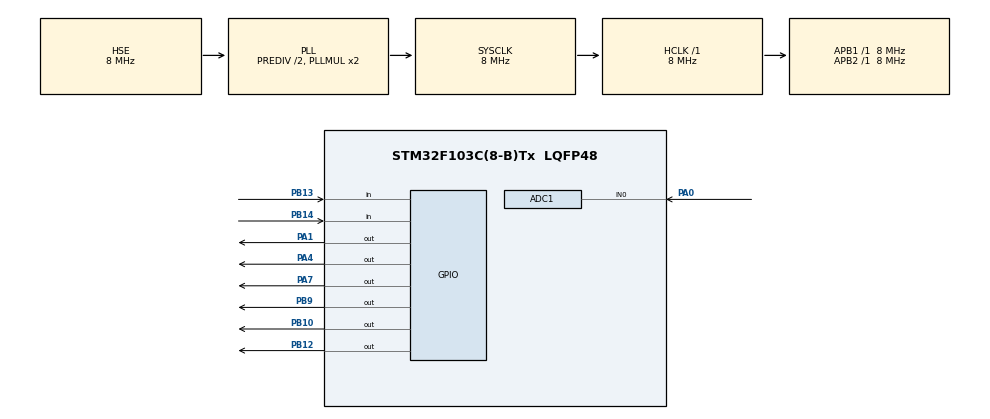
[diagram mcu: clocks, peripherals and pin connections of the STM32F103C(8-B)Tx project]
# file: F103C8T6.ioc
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ADC1.Channel-0\#ChannelRegularConversion=ADC_CHANNEL_0
ADC1.ContinuousConvMode=ENABLE
ADC1.NbrOfConversionFlag=1
ADC1.Rank-0\#ChannelRegularConversion=1
ADC1.SamplingTime-0\#ChannelRegularConversion=ADC_SAMPLETIME_1CYCLE_5
ADC1.master=1
Dma.ADC1.0.Direction=DMA_PERIPH_TO_MEMORY
Dma.ADC1.0.Instance=DMA1_Channel1
Dma.ADC1.0.MemDataAlignment=DMA_MDATAALIGN_HALFWORD
Dma.ADC1.0.MemInc=DMA_MINC_ENABLE
Dma.ADC1.0.Mode=DMA_CIRCULAR
Dma.ADC1.0.PeriphDataAlignment=DMA_PDATAALIGN_HALFWORD
Dma.ADC1.0.PeriphInc=DMA_PINC_DISABLE
Dma.ADC1.0.Priority=DMA_PRIORITY_MEDIUM
Dma.Request0=ADC1
Mcu.Family=STM32F1
Mcu.Name=STM32F103C(8-B)Tx
Mcu.Package=LQFP48
NVIC.DMA1_Channel1_IRQn=true\:0\:0\:false\:false\:true\:false\:true\:true
NVIC.PriorityGroup=NVIC_PRIORITYGROUP_4
NVIC.TIM2_IRQn=true\:0\:0\:false\:false\:true\:true\:true\:true
PA0-WKUP.Signal=ADCx_IN0
PA1.Signal=GPIO_Output
PA13.Mode=Serial_Wire
PA13.Signal=SYS_JTMS-SWDIO
PA14.Mode=Serial_Wire
PA14.Signal=SYS_JTCK-SWCLK
PA4.Signal=GPIO_Output
PA7.Signal=GPIO_Output
PB10.Signal=GPIO_Output
PB12.Signal=GPIO_Output
PB13.GPIO_PuPd=GPIO_PULLDOWN
PB13.Signal=GPIO_Input
PB14.GPIO_PuPd=GPIO_PULLDOWN
PB14.Signal=GPIO_Input
PB9.Signal=GPIO_Output
PD0-OSC_IN.Mode=HSE-External-Oscillator
PD0-OSC_IN.Signal=RCC_OSC_IN
PD1-OSC_OUT.Mode=HSE-External-Oscillator
PD1-OSC_OUT.Signal=RCC_OSC_OUT
ProjectManager.HeapSize=0x200
ProjectManager.StackSize=0x400
ProjectManager.TargetToolchain=MDK-ARM V5.32
RCC.AHBFreq_Value=8000000
RCC.APB1Freq_Value=8000000
RCC.APB1TimFreq_Value=8000000
RCC.APB2Freq_Value=8000000
RCC.APB2TimFreq_Value=8000000
RCC.HCLKFreq_Value=8000000
RCC.HSEDivPLL=RCC_HSE_PREDIV_DIV2
RCC.PLLSourceVirtual=RCC_PLLSOURCE_HSE
RCC.SYSCLKFreq_VALUE=8000000
RCC.SYSCLKSource=RCC_SYSCLKSOURCE_PLLCLK
RCC.USBFreq_Value=8000000
SH.ADCx_IN0.0=ADC1_IN0,IN0
TIM2.Period=10000-1
TIM2.Prescaler=80-1
VP_TIM2_VS_ClockSourceINT.Mode=Internal
board=custom

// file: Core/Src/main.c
/* USER CODE BEGIN Header */
/**
  ******************************************************************************
  * @file           : main.c
  * @brief          : Main program body
  ******************************************************************************
  * @attention
  *
  * Copyright (c) 2026 STMicroelectronics.
  * All rights reserved.
  *
  * This software is licensed under terms that can be found in the LICENSE file
  * in the root directory of this software component.
  * If no LICENSE file comes with this software, it is provided AS-IS.
  *
  ******************************************************************************
  */
/* USER CODE END Header */
#include "main.h"

/* USER CODE BEGIN PTD */
typedef enum {
  ST_OFF_IDLE = 0,
  ST_OFF_LEVEL,
  ST_OFF_ANIM,
  ST_ON_IDLE,
  ST_ON_BLIP,
  ST_ON_LEVEL,
  ST_ON_ANIM,
} fsm_state_t;
/* USER CODE END PTD */

/* USER CODE BEGIN PD */
#define BTN_PORT          GPIOB
#define BTN_PIN           GPIO_PIN_13
#define IND_LED_PORT      GPIOB
#define IND_LED_PIN       GPIO_PIN_12
#define BAT_OUT_PORT      GPIOB
#define BAT_OUT_PIN       GPIO_PIN_9

#define LED1_PORT         GPIOB
#define LED1_PIN          GPIO_PIN_10
#define LED2_PORT         GPIOA
#define LED2_PIN          GPIO_PIN_7
#define LED3_PORT         GPIOA
#define LED3_PIN          GPIO_PIN_4
#define LED4_PORT         GPIOA
#define LED4_PIN          GPIO_PIN_1

#define DEBOUNCE_MS       20U
#define WINDOW_MS         4000U
#define LONG_PRESS_MS     1200U
#define BLINK_HALF_MS     250U      /* 2Hz: 250ms on / 250ms off */
#define ON_BLIP_MS        200U      /* ON 短按瞬间全灭时长 */
#define ANIM_STEP_MS      300U      /* 2s 动画分 4 步 */

#define ADC_BUF_LEN       32U
#define V_REF_MV          3300U     /* ADC 满量程 */
#define V_BAT0_MV         2310U     /* 0% 对应分压 2.61V */
#define V_BAT100_MV       3000U     /* 100% 对应分压 3.30V */

#define LOOP_TICK_MS      5U        /* 主循环节流周期 */
/* USER CODE END PD */

ADC_HandleTypeDef hadc1;
DMA_HandleTypeDef hdma_adc1;

TIM_HandleTypeDef htim2;

/* USER CODE BEGIN PV */
/* ADC DMA 循环采样缓冲 */
static volatile uint16_t adc_buf[ADC_BUF_LEN];

/* 按键去抖与边沿事件 */
static uint8_t  btn_stable      = 0;          /* 去抖后稳定电平 0/1 */
static uint8_t  btn_raw_last    = 0;
static uint32_t btn_change_ms   = 0;
static uint8_t  btn_consume     = 0;          /* 切换后忽略当前按住 */
static uint8_t  ev_pressed      = 0;          /* 本轮按下边沿 */
static uint8_t  ev_released     = 0;          /* 本轮释放边沿 */

/* 状态机 */
static fsm_state_t fsm           = ST_OFF_IDLE;
static uint32_t window_start_ms  = 0;          /* LEVEL 窗口起点 */
static uint32_t anim_start_ms    = 0;          /* ANIM 起点 */
static uint32_t blip_start_ms    = 0;          /* ON_BLIP 起点 */

/* 主循环节流 */
static uint32_t last_tick_ms     = 0;
/* USER CODE END PV */

void SystemClock_Config(void);
static void MX_GPIO_Init(void);
static void MX_DMA_Init(void);
static void MX_ADC1_Init(void);
static void MX_TIM2_Init(void);
/* USER CODE BEGIN PFP */
static void     update_button(uint32_t now);
static uint16_t adc_average_mv(void);
static int16_t  battery_percent(void);
static void     compute_level_pattern(uint8_t pat[4]);
static void     apply_leds(const uint8_t pat[4], uint8_t blink_on);
static void     render_off_anim(uint32_t elapsed, uint8_t pat[4]);
static void     render_on_anim(uint32_t elapsed, uint8_t pat[4]);
static void     fsm_step(uint32_t now);
static void     render_leds(uint32_t now);
/* USER CODE END PFP */

int main(void)
{

  /* MCU Configuration--------------------------------------------------------*/

  /* Reset of all peripherals, Initializes the Flash interface and the Systick. */
  HAL_Init();

  /* Configure the system clock */
  SystemClock_Config();

  /* Initialize all configured peripherals */
  MX_GPIO_Init();
  MX_DMA_Init();
  MX_ADC1_Init();
  MX_TIM2_Init();
  /* USER CODE BEGIN 2 */
  HAL_ADCEx_Calibration_Start(&hadc1);
  HAL_ADC_Start_DMA(&hadc1, (uint32_t *)adc_buf, ADC_BUF_LEN);

  /* 启动即关闭电池输出，确保上电安全 */
  HAL_GPIO_WritePin(BAT_OUT_PORT, BAT_OUT_PIN, GPIO_PIN_RESET);
  HAL_GPIO_WritePin(IND_LED_PORT, IND_LED_PIN, GPIO_PIN_RESET);
  HAL_GPIO_WritePin(LED1_PORT, LED1_PIN, GPIO_PIN_RESET);
  HAL_GPIO_WritePin(LED2_PORT, LED2_PIN, GPIO_PIN_RESET);
  HAL_GPIO_WritePin(LED3_PORT, LED3_PIN, GPIO_PIN_RESET);
  HAL_GPIO_WritePin(LED4_PORT, LED4_PIN, GPIO_PIN_RESET);

  fsm           = ST_OFF_IDLE;
  last_tick_ms  = HAL_GetTick();
  /* USER CODE END 2 */

  /* Infinite loop */
  /* USER CODE BEGIN WHILE */
  while (1)
  {
    uint32_t now = HAL_GetTick();
    if ((uint32_t)(now - last_tick_ms) >= LOOP_TICK_MS)
    {
      last_tick_ms = now;
      update_button(now);
      fsm_step(now);
      render_leds(now);
    }
    /* USER CODE END WHILE */

  }
}

void SystemClock_Config(void)
{
  RCC_OscInitTypeDef RCC_OscInitStruct = {0};
  RCC_ClkInitTypeDef RCC_ClkInitStruct = {0};
  RCC_PeriphCLKInitTypeDef PeriphClkInit = {0};

  /** Initializes the RCC Oscillators according to the specified parameters
  * in the RCC_OscInitTypeDef structure.
  */
  RCC_OscInitStruct.OscillatorType = RCC_OSCILLATORTYPE_HSE;
  RCC_OscInitStruct.HSEState = RCC_HSE_ON;
  RCC_OscInitStruct.HSEPredivValue = RCC_HSE_PREDIV_DIV2;
  RCC_OscInitStruct.HSIState = RCC_HSI_ON;
  RCC_OscInitStruct.PLL.PLLState = RCC_PLL_ON;
  RCC_OscInitStruct.PLL.PLLSource = RCC_PLLSOURCE_HSE;
  RCC_OscInitStruct.PLL.PLLMUL = RCC_PLL_MUL2;
  if (HAL_RCC_OscConfig(&RCC_OscInitStruct) != HAL_OK)
  {
    Error_Handler();
  }

  /** Initializes the CPU, AHB and APB buses clocks
  */
  RCC_ClkInitStruct.ClockType = RCC_CLOCKTYPE_HCLK|RCC_CLOCKTYPE_SYSCLK
                              |RCC_CLOCKTYPE_PCLK1|RCC_CLOCKTYPE_PCLK2;
  RCC_ClkInitStruct.SYSCLKSource = RCC_SYSCLKSOURCE_PLLCLK;
  RCC_ClkInitStruct.AHBCLKDivider = RCC_SYSCLK_DIV1;
  RCC_ClkInitStruct.APB1CLKDivider = RCC_HCLK_DIV1;
  RCC_ClkInitStruct.APB2CLKDivider = RCC_HCLK_DIV1;

  if (HAL_RCC_ClockConfig(&RCC_ClkInitStruct, FLASH_LATENCY_0) != HAL_OK)
  {
    Error_Handler();
  }
  PeriphClkInit.PeriphClockSelection = RCC_PERIPHCLK_ADC;
  PeriphClkInit.AdcClockSelection = RCC_ADCPCLK2_DIV2;
  if (HAL_RCCEx_PeriphCLKConfig(&PeriphClkInit) != HAL_OK)
  {
    Error_Handler();
  }
}

static void MX_ADC1_Init(void)
{

  ADC_ChannelConfTypeDef sConfig = {0};

  /** Common config
  */
  hadc1.Instance = ADC1;
  hadc1.Init.ScanConvMode = ADC_SCAN_DISABLE;
  hadc1.Init.ContinuousConvMode = ENABLE;
  hadc1.Init.DiscontinuousConvMode = DISABLE;
  hadc1.Init.ExternalTrigConv = ADC_SOFTWARE_START;
  hadc1.Init.DataAlign = ADC_DATAALIGN_RIGHT;
  hadc1.Init.NbrOfConversion = 1;
  if (HAL_ADC_Init(&hadc1) != HAL_OK)
  {
    Error_Handler();
  }

  /** Configure Regular Channel
  */
  sConfig.Channel = ADC_CHANNEL_0;
  sConfig.Rank = ADC_REGULAR_RANK_1;
  sConfig.SamplingTime = ADC_SAMPLETIME_1CYCLE_5;
  if (HAL_ADC_ConfigChannel(&hadc1, &sConfig) != HAL_OK)
  {
    Error_Handler();
  }

}

static void MX_TIM2_Init(void)
{

  TIM_ClockConfigTypeDef sClockSourceConfig = {0};
  TIM_MasterConfigTypeDef sMasterConfig = {0};

  htim2.Instance = TIM2;
  htim2.Init.Prescaler = 80-1;
  htim2.Init.CounterMode = TIM_COUNTERMODE_UP;
  htim2.Init.Period = 10000-1;
  htim2.Init.ClockDivision = TIM_CLOCKDIVISION_DIV1;
  htim2.Init.AutoReloadPreload = TIM_AUTORELOAD_PRELOAD_DISABLE;
  if (HAL_TIM_Base_Init(&htim2) != HAL_OK)
  {
    Error_Handler();
  }
  sClockSourceConfig.ClockSource = TIM_CLOCKSOURCE_INTERNAL;
  if (HAL_TIM_ConfigClockSource(&htim2, &sClockSourceConfig) != HAL_OK)
  {
    Error_Handler();
  }
  sMasterConfig.MasterOutputTrigger = TIM_TRGO_RESET;
  sMasterConfig.MasterSlaveMode = TIM_MASTERSLAVEMODE_DISABLE;
  if (HAL_TIMEx_MasterConfigSynchronization(&htim2, &sMasterConfig) != HAL_OK)
  {
    Error_Handler();
  }

}

static void MX_DMA_Init(void)
{

  /* DMA controller clock enable */
  __HAL_RCC_DMA1_CLK_ENABLE();

  /* DMA interrupt init */
  /* DMA1_Channel1_IRQn interrupt configuration */
  HAL_NVIC_SetPriority(DMA1_Channel1_IRQn, 0, 0);
  HAL_NVIC_EnableIRQ(DMA1_Channel1_IRQn);

}

static void MX_GPIO_Init(void)
{
  GPIO_InitTypeDef GPIO_InitStruct = {0};

  /* GPIO Ports Clock Enable */
  __HAL_RCC_GPIOD_CLK_ENABLE();
  __HAL_RCC_GPIOA_CLK_ENABLE();
  __HAL_RCC_GPIOB_CLK_ENABLE();

  /*Configure GPIO pin Output Level */
  HAL_GPIO_WritePin(GPIOA, GPIO_PIN_1|GPIO_PIN_4|GPIO_PIN_7, GPIO_PIN_RESET);

  /*Configure GPIO pin Output Level */
  HAL_GPIO_WritePin(GPIOB, GPIO_PIN_10|GPIO_PIN_12|GPIO_PIN_9, GPIO_PIN_RESET);

  /*Configure GPIO pins : PA1 PA4 PA7 */
  GPIO_InitStruct.Pin = GPIO_PIN_1|GPIO_PIN_4|GPIO_PIN_7;
  GPIO_InitStruct.Mode = GPIO_MODE_OUTPUT_PP;
  GPIO_InitStruct.Pull = GPIO_NOPULL;
  GPIO_InitStruct.Speed = GPIO_SPEED_FREQ_LOW;
  HAL_GPIO_Init(GPIOA, &GPIO_InitStruct);

  /*Configure GPIO pins : PB10 PB12 PB9 */
  GPIO_InitStruct.Pin = GPIO_PIN_10|GPIO_PIN_12|GPIO_PIN_9;
  GPIO_InitStruct.Mode = GPIO_MODE_OUTPUT_PP;
  GPIO_InitStruct.Pull = GPIO_NOPULL;
  GPIO_InitStruct.Speed = GPIO_SPEED_FREQ_LOW;
  HAL_GPIO_Init(GPIOB, &GPIO_InitStruct);

  /*Configure GPIO pins : PB13 PB14 */
  GPIO_InitStruct.Pin = GPIO_PIN_13|GPIO_PIN_14;
  GPIO_InitStruct.Mode = GPIO_MODE_INPUT;
  GPIO_InitStruct.Pull = GPIO_PULLDOWN;
  HAL_GPIO_Init(GPIOB, &GPIO_InitStruct);

}

/* USER CODE BEGIN 4 */

/* ------------------------------------------------------------------
 * 按键去抖与边沿检测：每个主循环 tick 调用一次
 * ------------------------------------------------------------------ */
static void update_button(uint32_t now)
{
  ev_pressed  = 0;
  ev_released = 0;

  uint8_t raw = (HAL_GPIO_ReadPin(BTN_PORT, BTN_PIN) == GPIO_PIN_SET) ? 1U : 0U;

  if (raw != btn_raw_last)
  {
    btn_raw_last  = raw;
    btn_change_ms = now;
  }

  if (raw != btn_stable && (uint32_t)(now - btn_change_ms) >= DEBOUNCE_MS)
  {
    btn_stable = raw;
    if (raw)
    {
      ev_pressed = 1;
    }
    else
    {
      ev_released = 1;
    }
  }
}

/* ------------------------------------------------------------------
 * ADC 取平均并换算成 mV
 * ------------------------------------------------------------------ */
static uint16_t adc_average_mv(void)
{
  uint32_t sum = 0;
  for (uint32_t i = 0; i < ADC_BUF_LEN; ++i)
  {
    sum += adc_buf[i];
  }
  uint32_t avg = sum / ADC_BUF_LEN;        /* 0..4095 */
  return (uint16_t)((avg * V_REF_MV) / 4095U);
}

/* ------------------------------------------------------------------
 * 电压百分比：2.61V=0%，3.30V=100%，线性
 * ------------------------------------------------------------------ */
static int16_t battery_percent(void)
{
  uint16_t mv = adc_average_mv();
  if (mv <= V_BAT0_MV)
  {
    return 0;
  }
  if (mv >= V_BAT100_MV)
  {
    return 100;
  }
  return (int16_t)(((uint32_t)(mv - V_BAT0_MV) * 100U) / (V_BAT100_MV - V_BAT0_MV));
}

/* ------------------------------------------------------------------
 * 把百分比映射为 4 路 LED 模式（0=灭 1=亮 2=2Hz 闪）
 *
 *   每 12.5% 一个分段（band n = (2*p)/25, n in 0..7）：
 *     n=0  [0,  12.5)  -> blink LED1
 *     n=1  [12.5,25)   -> solid LED1
 *     n=2  [25,  37.5) -> solid LED1, blink LED2
 *     ...
 *     n=7  [87.5,100)  -> all solid
 *   p == 0   单独处理：全灭
 *   p == 100 单独处理：全亮
 * ------------------------------------------------------------------ */
static void compute_level_pattern(uint8_t pat[4])
{
  pat[0] = pat[1] = pat[2] = pat[3] = 0;

  int16_t p = battery_percent();
  if (p <= 0)
  {
    return;
  }
  if (p >= 100)
  {
    pat[0] = pat[1] = pat[2] = pat[3] = 1;
    return;
  }

  int n          = (2 * p) / 25;          /* 0..7 */
  int full_solid = (n + 1) / 2;           /* 0..4 */
  int blink_at   = ((n & 1) == 0) ? 1 : 0;

  for (int i = 0; i < full_solid && i < 4; ++i)
  {
    pat[i] = 1;
  }
  if (blink_at && full_solid < 4)
  {
    pat[full_solid] = 2;
  }
}

/* ------------------------------------------------------------------
 * 把 pattern 写到 GPIO；blink_on 为闪烁全局相位（0/1）
 * ------------------------------------------------------------------ */
static void apply_leds(const uint8_t pat[4], uint8_t blink_on)
{
  GPIO_PinState s[4];
  for (int i = 0; i < 4; ++i)
  {
    if (pat[i] == 0U)
    {
      s[i] = GPIO_PIN_RESET;
    }
    else if (pat[i] == 1U)
    {
      s[i] = GPIO_PIN_SET;
    }
    else
    {
      s[i] = blink_on ? GPIO_PIN_SET : GPIO_PIN_RESET;
    }
  }
  HAL_GPIO_WritePin(LED1_PORT, LED1_PIN, s[0]);
  HAL_GPIO_WritePin(LED2_PORT, LED2_PIN, s[1]);
  HAL_GPIO_WritePin(LED3_PORT, LED3_PIN, s[2]);
  HAL_GPIO_WritePin(LED4_PORT, LED4_PIN, s[3]);
}

/* ------------------------------------------------------------------
 * OFF -> ON 动画（LED1~4 先全灭再依次点亮）
 * ------------------------------------------------------------------ */
static void render_off_anim(uint32_t elapsed, uint8_t pat[4])
{
  pat[0] = pat[1] = pat[2] = pat[3] = 0;
  if (elapsed >= ANIM_STEP_MS * 4U)
  {
    pat[0] = pat[1] = pat[2] = pat[3] = 1;
  }
  else if (elapsed >= ANIM_STEP_MS * 3U)
  {
    pat[0] = pat[1] = pat[2] = 1;
  }
  else if (elapsed >= ANIM_STEP_MS * 2U)
  {
    pat[0] = pat[1] = 1;
  }
  else if (elapsed >= ANIM_STEP_MS)
  {
    pat[0] = 1;
  }
}

/* ------------------------------------------------------------------
 * ON -> OFF 动画（LED4~1 先全亮再依次熄灭）
 * ------------------------------------------------------------------ */
static void render_on_anim(uint32_t elapsed, uint8_t pat[4])
{
  pat[0] = pat[1] = pat[2] = pat[3] = 1;
  if (elapsed >= ANIM_STEP_MS * 4U)
  {
    pat[0] = pat[1] = pat[2] = pat[3] = 0;
  }
  else if (elapsed >= ANIM_STEP_MS * 3U)
  {
    pat[1] = pat[2] = pat[3] = 0;
    pat[0] = 1;
  }
  else if (elapsed >= ANIM_STEP_MS * 2U)
  {
    pat[2] = pat[3] = 0;
    pat[0] = pat[1] = 1;
  }
  else if (elapsed >= ANIM_STEP_MS)
  {
    pat[3] = 0;
    pat[0] = pat[1] = pat[2] = 1;
  }
}

/* ------------------------------------------------------------------
 * 状态机推进：消费 ev_pressed / ev_released
 * ------------------------------------------------------------------ */
static void fsm_step(uint32_t now)
{
  /* 切换瞬间按键仍按住：吃掉这一次释放，不当作新一次短按 */
  if (ev_released && btn_consume)
  {
    btn_consume  = 0;
    ev_released  = 0;
  }

  switch (fsm)
  {
    case ST_OFF_IDLE:
      /* 必须先释放（短按）才进入 LEVEL：单纯按住不算 */
      if (ev_released)
      {
        fsm             = ST_OFF_LEVEL;
        window_start_ms = now;
      }
      break;

    case ST_OFF_LEVEL:
      if (ev_pressed)
      {
        fsm           = ST_OFF_ANIM;
        anim_start_ms = now;
      }
      else if ((uint32_t)(now - window_start_ms) >= WINDOW_MS)
      {
        fsm = ST_OFF_IDLE;
      }
      break;

    case ST_OFF_ANIM:
      if (btn_stable && (uint32_t)(now - anim_start_ms) >= LONG_PRESS_MS)
      {
        HAL_GPIO_WritePin(BAT_OUT_PORT, BAT_OUT_PIN, GPIO_PIN_SET);
        fsm         = ST_ON_IDLE;
        btn_consume = 1;        /* 等用户释放，期间不再触发短按 */
      }
      else if (ev_released)
      {
        /* 未到 2s 提前释放：回到 LEVEL，沿用原窗口剩余时间 */
        fsm = ST_OFF_LEVEL;
      }
      break;

    case ST_ON_IDLE:
      if (ev_released)
      {
        fsm            = ST_ON_BLIP;
        blip_start_ms  = now;
      }
      break;

    case ST_ON_BLIP:
      if ((uint32_t)(now - blip_start_ms) >= ON_BLIP_MS)
      {
        fsm             = ST_ON_LEVEL;
        window_start_ms = now;
      }
      break;

    case ST_ON_LEVEL:
      if (ev_pressed)
      {
        fsm           = ST_ON_ANIM;
        anim_start_ms = now;
      }
      else if ((uint32_t)(now - window_start_ms) >= WINDOW_MS)
      {
        fsm = ST_ON_IDLE;
      }
      break;

    case ST_ON_ANIM:
      if (btn_stable && (uint32_t)(now - anim_start_ms) >= LONG_PRESS_MS)
      {
        HAL_GPIO_WritePin(BAT_OUT_PORT, BAT_OUT_PIN, GPIO_PIN_RESET);
        fsm         = ST_OFF_IDLE;
        btn_consume = 1;
      }
      else if (ev_released)
      {
        fsm = ST_ON_LEVEL;
      }
      break;

    default:
      fsm = ST_OFF_IDLE;
      break;
  }

  ev_pressed  = 0;
  ev_released = 0;
}

/* ------------------------------------------------------------------
 * 根据当前状态刷新所有 LED（PB12 + LED1~4）
 * ------------------------------------------------------------------ */
static void render_leds(uint32_t now)
{
  uint8_t pat[4]   = {0, 0, 0, 0};
  uint8_t blink_on = (((now / BLINK_HALF_MS) & 1U) == 0U) ? 1U : 0U;
  uint8_t indicator;

  switch (fsm)
  {
    case ST_OFF_IDLE:
      /* 平时熄灭；按下时随之点亮，提供按键反馈 */
      indicator = btn_stable;
      break;

    case ST_OFF_LEVEL:
      indicator = 1;
      compute_level_pattern(pat);
      break;

    case ST_OFF_ANIM:
      indicator = 1;
      render_off_anim((uint32_t)(now - anim_start_ms), pat);
      break;

    case ST_ON_IDLE:
      indicator = 1;
      compute_level_pattern(pat);
      break;

    case ST_ON_BLIP:
      indicator = 1;
      /* pat 保持全 0，达到“短按熄灭所有 LED 再恢复”的瞬间效果 */
      break;

    case ST_ON_LEVEL:
      indicator = 1;
      compute_level_pattern(pat);
      break;

    case ST_ON_ANIM:
      indicator = 1;
      render_on_anim((uint32_t)(now - anim_start_ms), pat);
      break;

    default:
      indicator = 0;
      break;
  }

  HAL_GPIO_WritePin(IND_LED_PORT, IND_LED_PIN,
                    indicator ? GPIO_PIN_SET : GPIO_PIN_RESET);
  apply_leds(pat, blink_on);
}

/* USER CODE END 4 */

void Error_Handler(void)
{
  __disable_irq();
  while (1)
  {
  }
}
